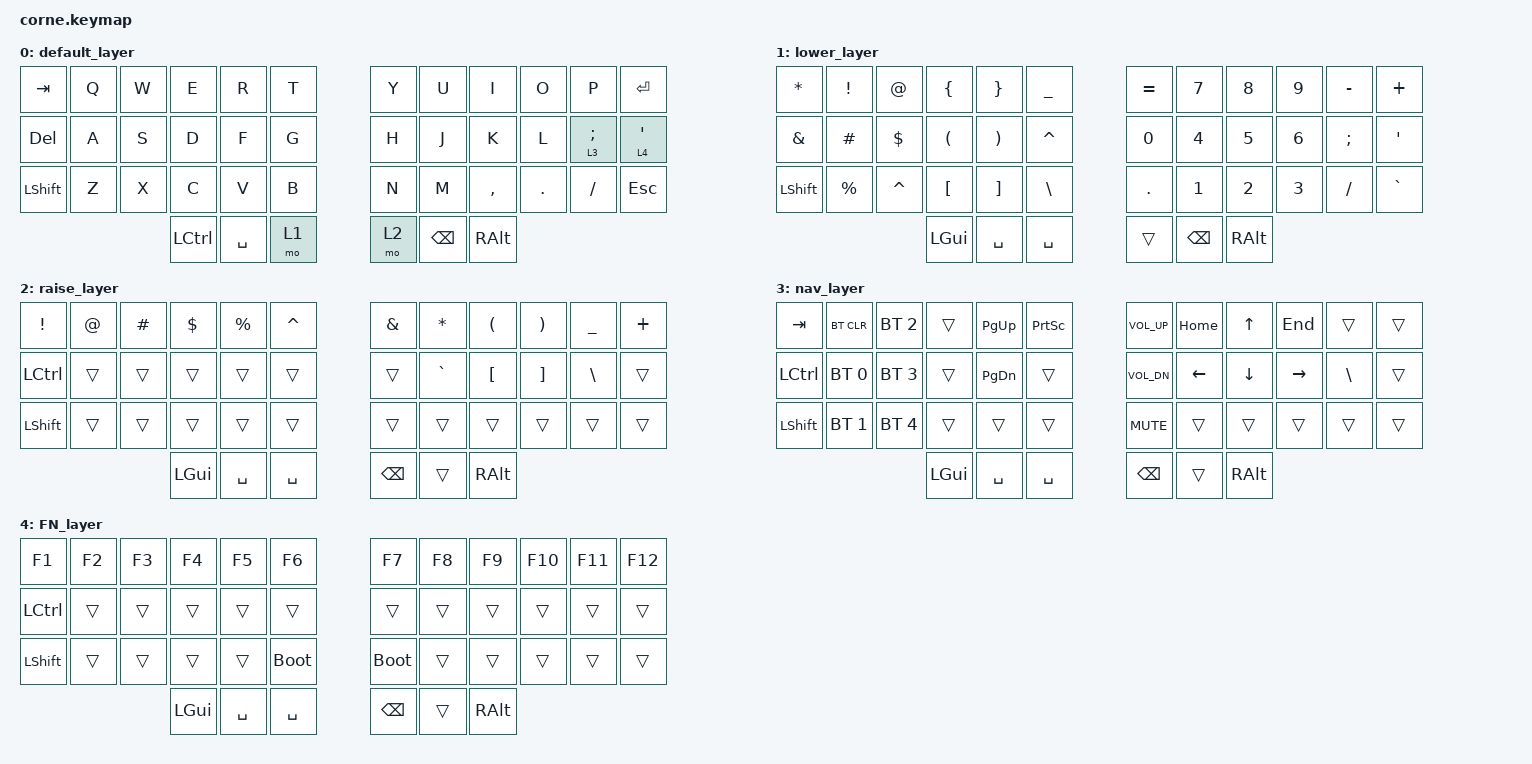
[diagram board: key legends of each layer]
/*
 * Copyright (c) 2020 The ZMK Contributors
 *
 * SPDX-License-Identifier: MIT
 */

#include <behaviors.dtsi>
#include <dt-bindings/zmk/bt.h>
#include <dt-bindings/zmk/keys.h>

/ {
    keymap {
        compatible = "zmk,keymap";

        default_layer {
            // -----------------------------------------------------------------------------------------
            // |  TAB |  Q  |  W  |  E  |  R  |  T  |   |  Y  |  U   |  I  |  O  |  P  | RET |
            // | DEL  |  A  |  S  |  D  |  F  |  G  |   |  H  |  J   |  K  |  L  |;/nav| '/FN|
            // | SHFT |  Z  |  X  |  C  |  V  |  B  |   |  N  |  M   |  ,  |  .  |  /  | ESC |
            //                    | CTRL | LWR | SPC |   | BKSP | RSE  | ALT |

            bindings = <
&kp TAB    &kp Q  &kp W  &kp E      &kp R      &kp T    &kp Y  &kp U          &kp I      &kp O    &kp P       &kp RET
&kp DEL    &kp A  &kp S  &kp D      &kp F      &kp G    &kp H  &kp J          &kp K      &kp L    &lt 3 SEMI  &lt 4 SQT
&kp LSHFT  &kp Z  &kp X  &kp C      &kp V      &kp B    &kp N  &kp M          &kp COMMA  &kp DOT  &kp FSLH    &kp ESC
                         &kp LCTRL  &kp SPACE  &mo 1    &mo 2  &kp BACKSPACE  &kp RALT
            >;
        };

        lower_layer {
            // -----------------------------------------------------------------------------------------
            // |  1   |  2  |  3  |  4  |  5  |  6  |      |  7  |  8  |  9  |  0  | -   |   =  |
            // | !    | @   | #   |  $  |  %  |  ^  |      |  &  | *   |  (  |  )  |  -  |   +  |
            // | SHFT |     |  `  | [   |  ]  | \   |      |     |     |     |     |     |      |
            //                    | GUI |     | SPC |      | bspc|     | ALT |

            bindings = <
&kp ASTERISK  &kp EXCL     &kp AT     &kp LBRC              &kp RBRC   &kp UNDER    &kp EQUAL   &kp N7         &kp N8        &kp N9        &kp MINUS      &kp PLUS
&kp AMPS      &kp HASH     &kp DLLR   &kp LEFT_PARENTHESIS  &kp RPAR   &kp CARET    &kp N0      &kp NUMBER_4   &kp N5        &kp NUMBER_6  &kp SEMICOLON  &kp APOS
&kp LSHFT     &kp PERCENT  &kp CARET  &kp LBKT              &kp RBKT   &kp BSLH     &kp PERIOD  &kp N1         &kp NUMBER_2  &kp NUMBER_3  &kp SLASH      &kp GRAVE
                                      &kp LGUI              &kp SPACE  &kp SPACE    &trans      &kp BACKSPACE  &kp RALT
            >;
        };

        raise_layer {
            // -----------------------------------------------------------------------------------------
            // | !    | @   | #   |  $  |  %  |  ^  |       |  &  | *   |  (  |  )  |  _  |   +  |
            // | CTRL |     |     |     |     |     |       |     | ~   |  [  |  ]  |  \  |      |
            // | SHFT |     |     |     |     |     |       |     |     |     |     |     |      |
            //                    | GUI |     | SPC |       |bkscp|     | ALT |

            bindings = <
&kp EXCL   &kp AT  &kp HASH  &kp DLLR  &kp PRCNT  &kp CARET    &kp AMPS  &kp STAR   &kp LPAR  &kp RPAR  &kp UNDER  &kp PLUS
&kp LCTRL  &trans  &trans    &trans    &trans     &trans       &trans    &kp GRAVE  &kp LBKT  &kp RBKT  &kp BSLH   &trans
&kp LSHFT  &trans  &trans    &trans    &trans     &trans       &trans    &trans     &trans    &trans    &trans     &trans
                             &kp LGUI  &kp SPACE  &kp SPACE    &kp BSPC  &trans     &kp RALT
            >;
        };

        nav_layer {
            // -----------------------------------------------------------------------------------------
            // |  tab |btclr|bt 2 |     |pg up|prtsc|       |volup|home | UP  |end  |     |     |
            // | CTRL |bt 0 |bt 3 |     |pg dn|     |       |voldn| LFT |  DWN| RGHT|     |     |
            // | SHFT |bt 1 |bt 4 |     |     |     |       |mute |     |     |     |     |     |
            //                    | GUI |     | SPC |       |bkscp|     | ALT |

            bindings = <
&kp TAB    &bt BT_CLR    &bt BT_SEL 2  &trans    &kp PG_UP  &kp PSCRN    &kp C_VOL_UP  &kp HOME  &kp UP    &kp END    &trans    &trans
&kp LCTRL  &bt BT_SEL 0  &bt BT_SEL 3  &trans    &kp PG_DN  &trans       &kp C_VOL_DN  &kp LEFT  &kp DOWN  &kp RIGHT  &kp BSLH  &trans
&kp LSHFT  &bt BT_SEL 1  &bt BT_SEL 4  &trans    &trans     &trans       &kp C_MUTE    &trans    &trans    &trans     &trans    &trans
                                       &kp LGUI  &kp SPACE  &kp SPACE    &kp BSPC      &trans    &kp RALT
            >;
        };

        FN_layer {
            // -----------------------------------------------------------------------------------------
            // |  F1 |  F2  |  F3 | F4  | F5  |  F6 |       | F7  | F8  | UP  | F10 | F11  | F12 |
            // | CTRL |     |     |     |     |     |       |     | ~   |  [  |  ]  |  \  |      |
            // | SHFT |     |     |     |     |boot |       |boot |     |     |     |     |      |
            //                    | GUI |     | SPC |       |bkscp|     | ALT |

            bindings = <
&kp F1     &kp F2  &kp F3  &kp F4    &kp F5     &kp F6         &kp F7       &kp F8  &kp F9    &kp F10  &kp F11  &kp F12
&kp LCTRL  &trans  &trans  &trans    &trans     &trans         &trans       &trans  &trans    &trans   &trans   &trans
&kp LSHFT  &trans  &trans  &trans    &trans     &bootloader    &bootloader  &trans  &trans    &trans   &trans   &trans
                           &kp LGUI  &kp SPACE  &kp SPACE      &kp BSPC     &trans  &kp RALT
            >;
        };
    };
};
